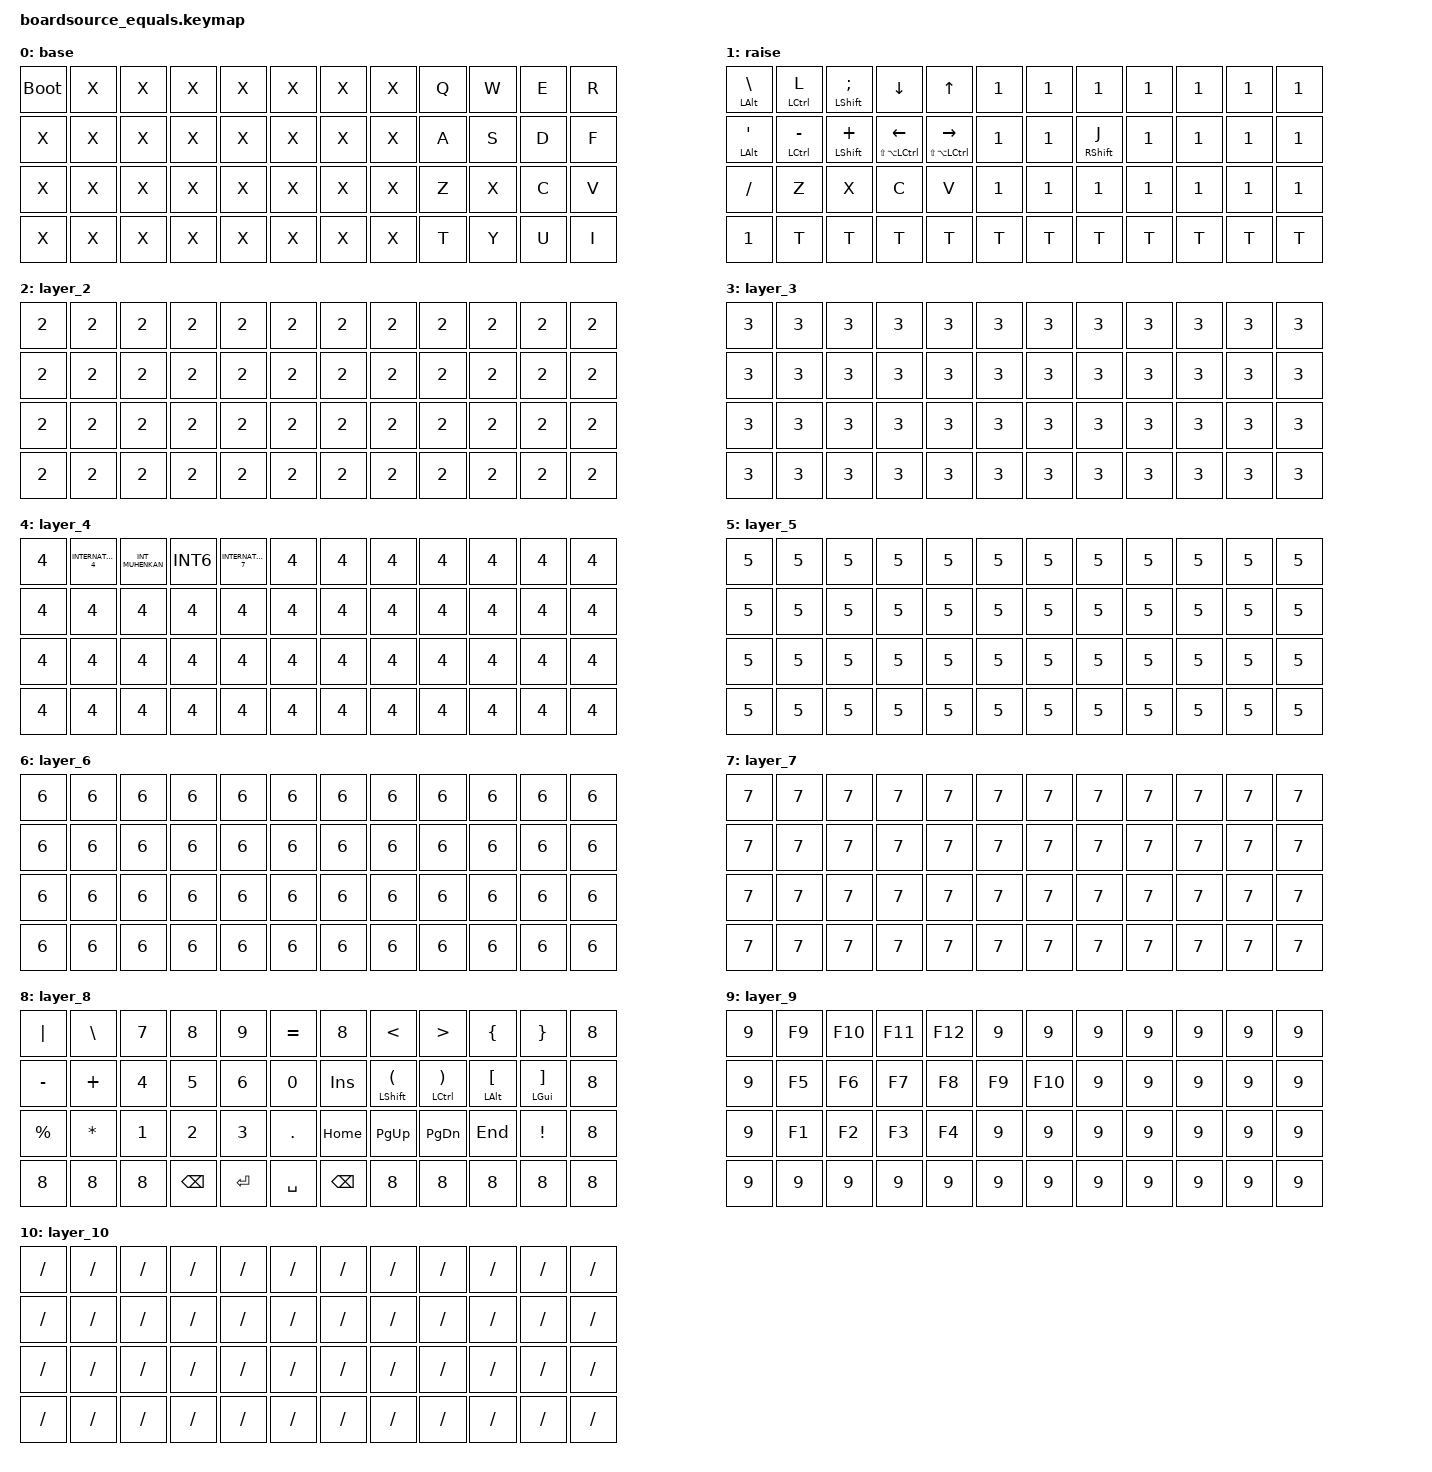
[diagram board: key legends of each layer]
/*
 * Copyright (c) 2022 Pete Johanson
 *
 * SPDX-License-Identifier: MIT
 */

#include <behaviors.dtsi>
#include <dt-bindings/zmk/keys.h>

&sk { quick-release; };

/ {
    chosen { zmk,matrix_transform = &ortho48_transform; };

    behaviors {
        hrm: hrm {
            compatible = "zmk,behavior-hold-tap";
            label = "HRM";
            bindings = <&kp>, <&kp>;

            #binding-cells = <2>;
            tapping-term-ms = <175>;
            flavor = "tap-preferred";
            hold-trigger-key-positions = <0 1 2 3 4 5 6 7 8 9 10 11 12 13 14 15 16 17 18 19 20 21 22 23 24 25 26 27 28 29 30 31 32 33 34 35 36 37 38 39 40 41 42 43 44 45 46 47>;
        };

        hshft: hshft {
            compatible = "zmk,behavior-hold-tap";
            label = "HSHFT";
            bindings = <&kp>, <&kp>;

            #binding-cells = <2>;
            tapping-term-ms = <135>;
            flavor = "tap-preferred";
            hold-trigger-key-positions = <0 1 2 3 4 5 6 7 8 9 10 11 12 13 14 15 16 17 18 19 20 21 22 23 24 25 26 27 28 29 30 31 32 33 34 35 36 37 38 39 40 41 42 43 44 45 46 47>;
        };

        hmolyr: hmolyr {
            compatible = "zmk,behavior-hold-tap";
            label = "HMOLYR";
            bindings = <&mo>, <&kp>;

            #binding-cells = <2>;
            tapping-term-ms = <150>;
            flavor = "balanced";
            hold-trigger-key-positions = <0 1 2 3 4 5 6 7 8 9 10 11 12 13 14 15 16 17 18 19 20 21 22 23 24 25 26 27 28 29 30 31 32 33 34 35 36 37 38 39 40 41 42 43 44 45 46 47>;
        };

        hrmlwin: hrmlwin {
            compatible = "zmk,behavior-hold-tap";
            label = "HRMLWIN";
            bindings = <&kp>, <&kp>;

            #binding-cells = <2>;
            tapping-term-ms = <325>;
            flavor = "tap-unless-interrupted";
            hold-trigger-key-positions = <0 1 2 3 4 5 6 7 8 9 10 11 12 13 14 15 16 17 18 19 20 21 22 23 24 25 26 27 28 29 30 31 32 33 34 35 36 37 38 39 40 41 42 43 44 45 46 47>;
        };
    };

    combos {
        compatible = "zmk,combos";

        aaaa {
            bindings = <&kp Z>;
            key-positions = <13 14 15 16>;
            layers = <1>;
        };
    };

    keymap {
        compatible = "zmk,keymap";

        layer_0 {
            bindings = <
&bootloader  &kp X  &kp X  &kp X  &kp X  &kp X  &kp X  &kp X  &kp Q  &kp W  &kp E  &kp R
&kp X        &kp X  &kp X  &kp X  &kp X  &kp X  &kp X  &kp X  &kp A  &kp S  &kp D  &kp F
&kp X        &kp X  &kp X  &kp X  &kp X  &kp X  &kp X  &kp X  &kp Z  &kp X  &kp C  &kp V
&kp X        &kp X  &kp X  &kp X  &kp X  &kp X  &kp X  &kp X  &kp T  &kp Y  &kp U  &kp I
            >;

            label = "base";
        };

        layer_1 {
            bindings = <
&hrm LEFT_ALT BACKSLASH   &hrm LCTRL L      &hrm LSHFT SEMI   &kp DOWN                 &kp UP                    &kp N1  &kp N1  &kp N1        &kp N1  &kp N1  &kp N1  &kp N1
&hrm LEFT_ALT APOSTROPHE  &hrm LCTRL MINUS  &hrm LSHIFT PLUS  &hrm LS(LA(LCTRL)) LEFT  &hrm LS(LA(LCTRL)) RIGHT  &kp N1  &kp N1  &hrm RSHFT J  &kp N1  &kp N1  &kp N1  &kp N1
&kp SLASH                 &kp Z             &kp X             &kp C                    &kp V                     &kp N1  &kp N1  &kp N1        &kp N1  &kp N1  &kp N1  &kp N1
&kp N1                    &kp T             &kp T             &kp T                    &kp T                     &kp T   &kp T   &kp T         &kp T   &kp T   &kp T   &kp T
            >;

            label = "raise";
        };

        layer_2 {
            bindings = <
&kp N2  &kp N2  &kp N2  &kp N2  &kp N2  &kp N2  &kp N2  &kp N2  &kp N2  &kp N2  &kp N2  &kp N2
&kp N2  &kp N2  &kp N2  &kp N2  &kp N2  &kp N2  &kp N2  &kp N2  &kp N2  &kp N2  &kp N2  &kp N2
&kp N2  &kp N2  &kp N2  &kp N2  &kp N2  &kp N2  &kp N2  &kp N2  &kp N2  &kp N2  &kp N2  &kp N2
&kp N2  &kp N2  &kp N2  &kp N2  &kp N2  &kp N2  &kp N2  &kp N2  &kp N2  &kp N2  &kp N2  &kp N2
            >;
        };

        layer_3 {
            bindings = <
&kp N3  &kp N3  &kp N3  &kp N3  &kp N3  &kp N3  &kp N3  &kp N3  &kp N3  &kp N3  &kp N3  &kp N3
&kp N3  &kp N3  &kp N3  &kp N3  &kp N3  &kp N3  &kp N3  &kp N3  &kp N3  &kp N3  &kp N3  &kp N3
&kp N3  &kp N3  &kp N3  &kp N3  &kp N3  &kp N3  &kp N3  &kp N3  &kp N3  &kp N3  &kp N3  &kp N3
&kp N3  &kp N3  &kp N3  &kp N3  &kp N3  &kp N3  &kp N3  &kp N3  &kp N3  &kp N3  &kp N3  &kp N3
            >;
        };

        layer_4 {
            bindings = <
&kp N4  &kp INTERNATIONAL_4  &kp INT_MUHENKAN  &kp INT6  &kp INTERNATIONAL_7  &kp N4  &kp N4  &kp N4  &kp N4  &kp N4  &kp N4  &kp N4
&kp N4  &kp N4               &kp N4            &kp N4    &kp N4               &kp N4  &kp N4  &kp N4  &kp N4  &kp N4  &kp N4  &kp N4
&kp N4  &kp N4               &kp N4            &kp N4    &kp N4               &kp N4  &kp N4  &kp N4  &kp N4  &kp N4  &kp N4  &kp N4
&kp N4  &kp N4               &kp N4            &kp N4    &kp N4               &kp N4  &kp N4  &kp N4  &kp N4  &kp N4  &kp N4  &kp N4
            >;
        };

        layer_5 {
            bindings = <
&kp N5  &kp N5  &kp N5  &kp N5  &kp N5  &kp N5  &kp N5  &kp N5  &kp N5  &kp N5  &kp N5  &kp N5
&kp N5  &kp N5  &kp N5  &kp N5  &kp N5  &kp N5  &kp N5  &kp N5  &kp N5  &kp N5  &kp N5  &kp N5
&kp N5  &kp N5  &kp N5  &kp N5  &kp N5  &kp N5  &kp N5  &kp N5  &kp N5  &kp N5  &kp N5  &kp N5
&kp N5  &kp N5  &kp N5  &kp N5  &kp N5  &kp N5  &kp N5  &kp N5  &kp N5  &kp N5  &kp N5  &kp N5
            >;
        };

        layer_6 {
            bindings = <
&kp N6  &kp N6  &kp N6  &kp N6  &kp N6  &kp N6  &kp N6  &kp N6  &kp N6  &kp N6  &kp N6  &kp N6
&kp N6  &kp N6  &kp N6  &kp N6  &kp N6  &kp N6  &kp N6  &kp N6  &kp N6  &kp N6  &kp N6  &kp N6
&kp N6  &kp N6  &kp N6  &kp N6  &kp N6  &kp N6  &kp N6  &kp N6  &kp N6  &kp N6  &kp N6  &kp N6
&kp N6  &kp N6  &kp N6  &kp N6  &kp N6  &kp N6  &kp N6  &kp N6  &kp N6  &kp N6  &kp N6  &kp N6
            >;
        };

        layer_7 {
            bindings = <
&kp N7  &kp N7  &kp N7  &kp N7  &kp N7  &kp N7  &kp N7  &kp N7  &kp N7  &kp N7  &kp N7  &kp N7
&kp N7  &kp N7  &kp N7  &kp N7  &kp N7  &kp N7  &kp N7  &kp N7  &kp N7  &kp N7  &kp N7  &kp N7
&kp N7  &kp N7  &kp N7  &kp N7  &kp N7  &kp N7  &kp N7  &kp N7  &kp N7  &kp N7  &kp N7  &kp N7
&kp N7  &kp N7  &kp N7  &kp N7  &kp N7  &kp N7  &kp N7  &kp N7  &kp N7  &kp N7  &kp N7  &kp N7
            >;
        };

        layer_8 {
            bindings = <
&kp PIPE     &kp BACKSLASH  &kp N7  &kp N8         &kp N9     &kp EQUAL  &kp N8         &kp LESS_THAN                 &kp GREATER_THAN              &kp LEFT_BRACE          &kp RIGHT_BRACE          &kp N8
&kp MINUS    &kp PLUS       &kp N4  &kp N5         &kp N6     &kp N0     &kp INS        &hrm LSHIFT LEFT_PARENTHESIS  &hrm LCTRL RIGHT_PARENTHESIS  &hrm LALT LEFT_BRACKET  &hrm LGUI RIGHT_BRACKET  &kp N8
&kp PERCENT  &kp ASTERISK   &kp N1  &kp N2         &kp N3     &kp DOT    &kp HOME       &kp PG_UP                     &kp PAGE_DOWN                 &kp END                 &kp EXCLAMATION          &kp N8
&kp N8       &kp N8         &kp N8  &kp BACKSPACE  &kp ENTER  &kp SPACE  &kp BACKSPACE  &kp N8                        &kp N8                        &kp N8                  &kp N8                   &kp N8
            >;
        };

        layer_9 {
            bindings = <
&kp N9  &kp F9  &kp F10  &kp F11  &kp F12  &kp N9  &kp N9   &kp N9  &kp N9  &kp N9  &kp N9  &kp N9
&kp N9  &kp F5  &kp F6   &kp F7   &kp F8   &kp F9  &kp F10  &kp N9  &kp N9  &kp N9  &kp N9  &kp N9
&kp N9  &kp F1  &kp F2   &kp F3   &kp F4   &kp N9  &kp N9   &kp N9  &kp N9  &kp N9  &kp N9  &kp N9
&kp N9  &kp N9  &kp N9   &kp N9   &kp N9   &kp N9  &kp N9   &kp N9  &kp N9  &kp N9  &kp N9  &kp N9
            >;
        };

        layer_10 {
            bindings = <
&kp FSLH  &kp FSLH  &kp FSLH  &kp FSLH  &kp FSLH  &kp FSLH  &kp FSLH  &kp FSLH  &kp FSLH  &kp FSLH  &kp FSLH  &kp FSLH
&kp FSLH  &kp FSLH  &kp FSLH  &kp FSLH  &kp FSLH  &kp FSLH  &kp FSLH  &kp FSLH  &kp FSLH  &kp FSLH  &kp FSLH  &kp FSLH
&kp FSLH  &kp FSLH  &kp FSLH  &kp FSLH  &kp FSLH  &kp FSLH  &kp FSLH  &kp FSLH  &kp FSLH  &kp FSLH  &kp FSLH  &kp FSLH
&kp FSLH  &kp FSLH  &kp FSLH  &kp FSLH  &kp FSLH  &kp FSLH  &kp FSLH  &kp FSLH  &kp FSLH  &kp FSLH  &kp FSLH  &kp FSLH
            >;
        };
    };
};
